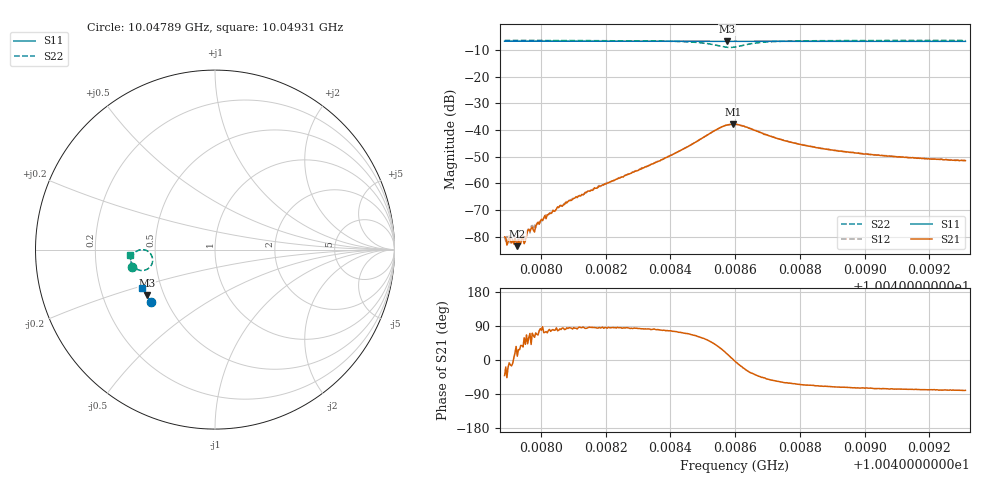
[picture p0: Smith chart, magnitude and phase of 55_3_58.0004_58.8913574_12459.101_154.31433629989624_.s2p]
#  HZ  S  RI  R  50.00
! Rohde & Schwarz Vector Network Analyzer
! Rohde-Schwarz,ZNB20-2Port,1311601062101988,3.16
! Created: UTC 3/21/2024, 12:52:45 AM
! freq[Hz]  re:S11  im:S11  re:S21  im:S21  re:S12  im:S12  re:S22  im:S22
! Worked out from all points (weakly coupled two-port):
!   401 points, 10.04789 GHz to 10.04931 GHz, reference 50 ohm
!   highest |S21| = -37.86 dB at 10.04859 GHz (marker M1); lowest = -83.5 dB at 10.04793 GHz (marker M2)
!   lowest |S11| = -6.8 dB at 10.04857 GHz (marker M3), VSWR 2.68, Z = 20.1 - j12.8 ohm
!   |S11| at or under -10 dB: nowhere
!   |S22| runs from -9.1 to -6.5 dB; largest |S21 - S12| = 0.001
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1.0047888e10  -0.3558 -0.2911  7.47e-05 -6.5e-05  7.56e-05 -6e-05  -0.465 -0.096
1.0047927e10  -0.3574 -0.2889  6.56e-05 1.15e-05  7.96e-05 2.11e-05  -0.4654 -0.0928
1.0047949e10  -0.3583 -0.2878  3.86e-05 6.33e-05  6.76e-05 5.48e-05  -0.4656 -0.091
1.0047966e10  -0.359 -0.2868  4.31e-05 0.00012  5.33e-05 0.000105  -0.4658 -0.0895
1.0047973e10  -0.3592 -0.2865  5.01e-05 0.000143  8.64e-05 0.000138  -0.4659 -0.0888
1.0048005e10  -0.3605 -0.2847  7.29e-06 0.0002  3.91e-05 0.000212  -0.4662 -0.086
1.0048055e10  -0.3627 -0.2819  7.04e-05 0.000347  2.9e-05 0.000354  -0.4666 -0.0813
1.0048087e10  -0.3638 -0.2801  3.77e-05 0.000474  3.74e-05 0.000481  -0.4668 -0.0782
1.0048126e10  -0.3654 -0.2782  5.31e-05 0.000618  4.24e-06 0.000618  -0.4669 -0.0742
1.0048365e10  -0.3743 -0.2649  0.00047 0.00258  0.000303 0.00264  -0.4618 -0.0403
1.0048486e10  -0.3786 -0.2579  0.00299 0.00558  0.00265 0.00577  -0.434 -0.00749
1.0048546e10  -0.3801 -0.2543  0.00842 0.00619  0.00803 0.00673  -0.3808 -0.00556
1.0048575e10  -0.3806 -0.2527  0.0118 0.00349  0.0116 0.00422  -0.3521 -0.0351
1.0048592e10  -0.3812 -0.2522  0.0128 0.000583  0.0128 0.00133  -0.3475 -0.0637
1.00486e10  -0.3815 -0.2519  0.0127 -0.00068  0.0128 0.000163  -0.3497 -0.075
1.0048639e10  -0.383 -0.2502  0.00977 -0.00533  0.0102 -0.00458  -0.3856 -0.113
1.0048689e10  -0.3852 -0.2476  0.00566 -0.00606  0.00613 -0.0059  -0.4262 -0.1132
1.004876e10  -0.3878 -0.2435  0.00309 -0.00534  0.0034 -0.00521  -0.4513 -0.0962
1.0048838e10  -0.3905 -0.239  0.00189 -0.00445  0.00217 -0.0044  -0.462 -0.0805
1.0048913e10  -0.3932 -0.2345  0.00131 -0.00387  0.00157 -0.00382  -0.4665 -0.0692
1.0049076e10  -0.3983 -0.2251  0.000744 -0.00317  0.001 -0.00312  -0.4712 -0.0504
1.0049311e10  -0.4054 -0.2113  0.000457 -0.00263  0.000598 -0.00261  -0.4737 -0.0295
